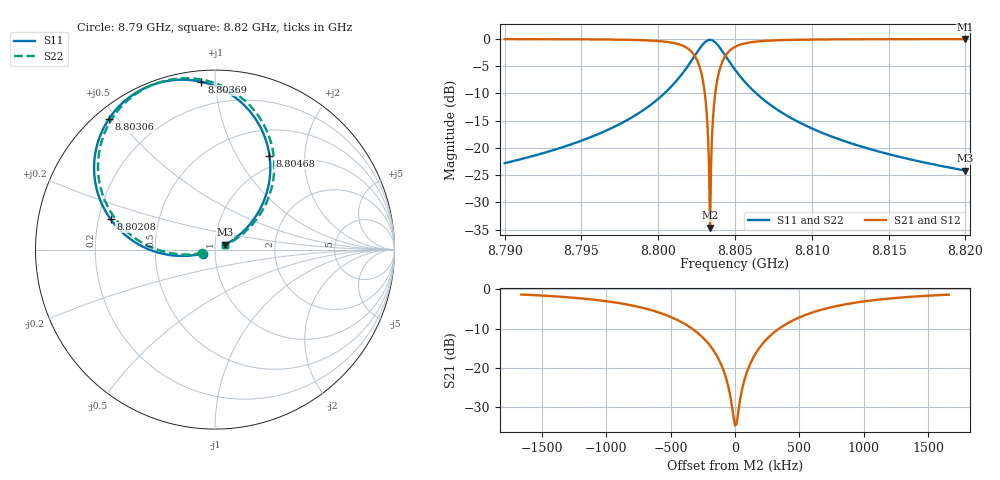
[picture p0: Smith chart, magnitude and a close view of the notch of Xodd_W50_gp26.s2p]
! Sonnet Data File
! From: emgraph Version : 16.52
! From Project: Qubit_Xmon2
! Data is De-embedded
! Data File Written: 10/18/2017 16:48:16
!< HDATE 10/18/2017 14:47:42
!< MDATE 10/18/2017 14:47:42
!< PARAMS
!< Lj = 11.0
!< Gap = 26.0
!< Pwid = 2000.0
!< Airgap = 30.0
!< Width = 50.0
!< END PARAMS
# GHZ S MA R 45.30000
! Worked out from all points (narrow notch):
!   3001 points, 8.79 GHz to 8.82 GHz, reference 45.3 ohm
!   highest |S21| = -0.02 dB at 8.82 GHz (marker M1); lowest = -34.6 dB at 8.80337 GHz (marker M2)
!   notch at M2: 34.5 dB deep, 277 kHz wide at half that depth
!   lowest |S11| = -24.1 dB at 8.82 GHz (marker M3), VSWR 1.13, Z = 50.6 + j2.7 ohm
!   |S11| at or under -10 dB: start of sweep to 8.800396 GHz; 8.80639 GHz to end of sweep
!   |S22| runs from -24.1 to -0.2 dB; largest |S21 - S12| = 0
!   S11 on the Smith chart (normalised r, x): 8.79 GHz: 0.87, -0.04; 8.80208 GHz: 0.25, +0.13; 8.80306 GHz: 0.04, +0.48; 8.80369 GHz: 0.06, +0.92; 8.80468 GHz: 0.83, +1.38; 8.82 GHz: 1.12, +0.06
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8.79  0.07254 -162.3  0.9973 -73.6  0.9973 -73.6  0.07254 -165.0
!< P1 F=8.79 Eeff=(4.74953887 -6.4479e-5) Z0=(45.1259111 -2.0732e-4) R=0.0 C=0.0
!< P2 F=8.79 Eeff=(4.74953887 -6.4479e-5) Z0=(45.1259111 -2.0732e-4) R=0.0 C=0.0
8.795  0.1166 -164.9  0.9929 -76.1  0.9929 -76.1  0.1166 -167.6
8.8  0.2822 -174.8  0.9578 -85.9  0.9578 -85.9  0.2822 -177.5
8.80129  0.4299 175.9  0.899 -95.0  0.899 -95.0  0.4299 173.2
8.80208  0.6066 163.7  0.7864 -106.8  0.7864 -106.8  0.6066 161.0
8.80269  0.8149 145.8  0.558 -124.0  0.558 -124.0  0.8149 143.0
8.8029  0.8901 136.8  0.4224 -132.3  0.4224 -132.3  0.8901 134.1
8.80306  0.9382 129.0  0.2952 -139.0  0.2952 -139.0  0.9382 126.3
8.80316  0.9609 123.7  0.2064 -142.7  0.2064 -142.7  0.9609 121.0
8.80327  0.9768 117.7  0.1033 -143.6  0.1033 -143.6  0.9768 115.0
8.80337  0.9819 112.1  0.01858 -82.0  0.01858 -82.0  0.9819 109.4
8.80347  0.9776 106.5  0.09528 4.2  0.09528 4.2  0.9776 103.8
8.80359  0.9606 99.9  0.2078 3.7  0.2078 3.7  0.9606 97.2
8.80369  0.938 94.7  0.2962 -0.1  0.2962 -0.1  0.938 91.9
8.80406  0.8151 78.0  0.5578 -14.9  0.5578 -14.9  0.8151 75.2
8.80468  0.6053 59.9  0.7875 -32.3  0.7875 -32.3  0.6053 57.2
8.805  0.5229 54.0  0.8465 -38.0  0.8465 -38.0  0.5229 51.3
8.80572  0.393 45.4  0.9165 -46.4  0.9165 -46.4  0.393 42.7
8.80669  0.2904 39.0  0.9553 -52.6  0.9553 -52.6  0.2904 36.3
8.81  0.1513 30.7  0.9881 -60.9  0.9881 -60.9  0.1513 27.9
8.815  0.08778 26.9  0.996 -64.6  0.996 -64.6  0.08778 24.2
8.82  0.0621 25.3  0.998 -66.1  0.998 -66.1  0.0621 22.6
